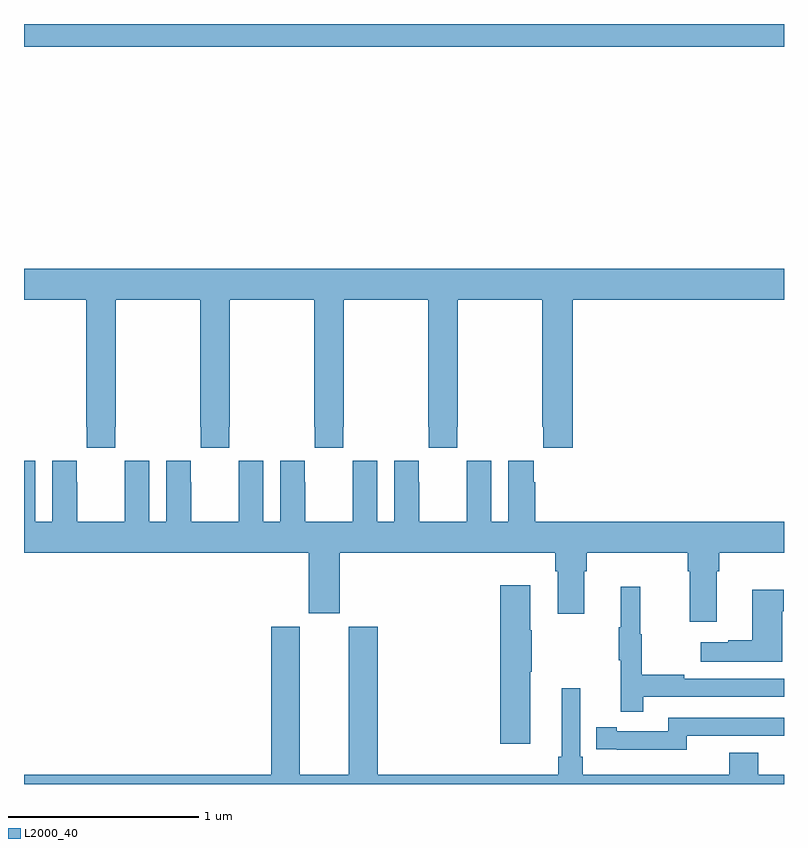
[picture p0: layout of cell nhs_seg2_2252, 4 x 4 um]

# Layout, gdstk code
import gdstk
lib = gdstk.Library(unit=1e-6, precision=1e-09)
def R(c, l, rs):  # rectangles x0, y0, x1, y1
    for r in rs: c.add(gdstk.rectangle(r[:2], r[2:], *l))
def P(c, l, *ps):  # polygons
    for p in ps: c.add(gdstk.Polygon(p, *l))
L2000_40 = (2000, 40)

nhs_seg2_2252 = lib.new_cell('nhs_seg2_2252')
R(nhs_seg2_2252, L2000_40, [(229,603.68,233,603.8)])
P(nhs_seg2_2252, L2000_40, [(229.479,601.681),(229.482,601.681),(229.482,602.348),(229.927,602.348),(229.927,601.681),(229.929,601.681),(229.929,601.569),(230.079,601.569),(230.079,601.681),(230.082,601.681),(230.082,602.348),(230.527,602.348),(230.527,601.681),(230.529,601.681),(230.529,601.569),(230.679,601.569),(230.679,601.681),(230.682,601.681),(230.682,602.348),(231.127,602.348),(231.127,601.681),(231.129,601.681),(231.129,601.569),(231.279,601.569),(231.279,601.681),(231.282,601.681),(231.282,602.348),(231.727,602.348),(231.727,601.681),(231.733,601.681),(231.733,601.569),(231.887,601.569),(231.887,602.348),(233,602.348),(233,602.512),(229,602.512),(229,602.348),(229.327,602.348),(229.327,601.681),(229.329,601.681),(229.329,601.569),(229.479,601.569)],
  [(232.645,600.92),(232.658,600.92),(232.658,601.016),(233,601.016),(233,601.18),(231.692,601.18),(231.692,601.388),(231.682,601.388),(231.682,601.501),(231.548,601.501),(231.548,601.18),(231.46,601.18),(231.46,601.501),(231.33,601.501),(231.33,601.388),(231.329,601.388),(231.329,601.18),(231.079,601.18),(231.079,601.388),(231.078,601.388),(231.078,601.501),(230.948,601.501),(230.948,601.18),(230.86,601.18),(230.86,601.501),(230.73,601.501),(230.73,601.388),(230.729,601.388),(230.729,601.18),(230.479,601.18),(230.479,601.388),(230.478,601.388),(230.478,601.501),(230.348,601.501),(230.348,601.18),(230.26,601.18),(230.26,601.501),(230.13,601.501),(230.13,601.388),(230.129,601.388),(230.129,601.18),(229.879,601.18),(229.879,601.388),(229.878,601.388),(229.878,601.501),(229.748,601.501),(229.748,601.18),(229.66,601.18),(229.66,601.501),(229.53,601.501),(229.53,601.388),(229.529,601.388),(229.529,601.18),(229.279,601.18),(229.279,601.388),(229.278,601.388),(229.278,601.501),(229.148,601.501),(229.148,601.18),(229.06,601.18),(229.06,601.501),(229,601.501),(229,601.016),(230.498,601.016),(230.498,600.699),(230.662,600.699),(230.662,601.016),(231.797,601.016),(231.797,600.92),(231.809,600.92),(231.809,600.696),(231.949,600.696),(231.949,600.92),(231.962,600.92),(231.962,601.016),(232.493,601.016),(232.493,600.92),(232.505,600.92),(232.505,600.654),(232.645,600.654)],
  [(231.664,600.391),(231.672,600.391),(231.672,600.608),(231.664,600.608),(231.664,600.847),(231.506,600.847),(231.506,600.012),(231.664,600.012)],
  [(232.259,600.258),(233,600.258),(233,600.354),(232.475,600.354),(232.475,600.374),(232.252,600.374),(232.252,600.588),(232.244,600.588),(232.244,600.838),(232.142,600.838),(232.142,600.625),(232.131,600.625),(232.131,600.451),(232.142,600.451),(232.142,600.18),(232.259,600.18)],
  [(232.99,600.71),(232.998,600.71),(232.998,600.823),(232.832,600.823),(232.832,600.557),(232.706,600.557),(232.706,600.547),(232.563,600.547),(232.563,600.443),(232.99,600.443)],
  [(233,599.848),(232.865,599.848),(232.865,599.965),(232.712,599.965),(232.712,599.848),(231.941,599.848),(231.941,599.944),(231.927,599.944),(231.927,600.304),(231.83,600.304),(231.83,599.944),(231.811,599.944),(231.811,599.848),(230.861,599.848),(230.861,600.627),(230.708,600.627),(230.708,599.848),(230.452,599.848),(230.452,600.627),(230.3,600.627),(230.3,599.848),(229,599.848),(229,599.8),(233,599.8)],
  [(232.488,600.054),(232.948,600.054),(232.948,600.053),(233,600.053),(233,600.15),(232.392,600.15),(232.392,600.078),(232.12,600.078),(232.12,600.098),(232.012,600.098),(232.012,599.982),(232.12,599.982),(232.12,599.981),(232.488,599.981)])

lib.write_gds('nhs_seg2_2252.gds')
